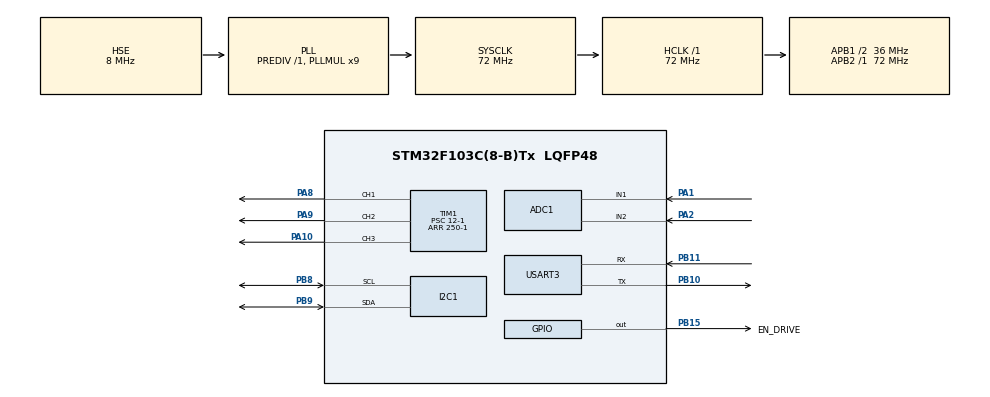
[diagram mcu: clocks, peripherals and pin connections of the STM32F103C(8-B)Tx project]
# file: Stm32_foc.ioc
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ADC1.Channel-2\#ChannelInjectedConversion=ADC_CHANNEL_1
ADC1.Channel-3\#ChannelInjectedConversion=ADC_CHANNEL_2
ADC1.ContinuousConvMode=ENABLE
ADC1.EnableInjectedConversion=ENABLE
ADC1.EnableRegularConversion=DISABLE
ADC1.ExternalTrigInjecConv=ADC_EXTERNALTRIGINJECCONV_T1_CC4
ADC1.InjNumberOfConversion=2
ADC1.InjectedConvMode=None
ADC1.InjectedOffset-2\#ChannelInjectedConversion=0
ADC1.InjectedOffset-3\#ChannelInjectedConversion=0
ADC1.InjectedRank-2\#ChannelInjectedConversion=1
ADC1.InjectedRank-3\#ChannelInjectedConversion=2
ADC1.SamplingTime-2\#ChannelInjectedConversion=ADC_SAMPLETIME_13CYCLES_5
ADC1.SamplingTime-3\#ChannelInjectedConversion=ADC_SAMPLETIME_13CYCLES_5
ADC1.master=1
I2C1.DualAddressMode=I2C_DUALADDRESS_DISABLE
I2C1.GeneralCallMode=I2C_GENERALCALL_DISABLE
I2C1.I2C_Mode=I2C_Standard
Mcu.Family=STM32F1
Mcu.Name=STM32F103C(8-B)Tx
Mcu.Package=LQFP48
NVIC.PriorityGroup=NVIC_PRIORITYGROUP_4
NVIC.USART3_IRQn=true\:0\:0\:false\:false\:true\:true\:true\:true
PA1.Signal=ADCx_IN1
PA10.Signal=S_TIM1_CH3
PA13.Mode=Serial_Wire
PA13.Signal=SYS_JTMS-SWDIO
PA14.Mode=Serial_Wire
PA14.Signal=SYS_JTCK-SWCLK
PA2.Signal=ADCx_IN2
PA8.Signal=S_TIM1_CH1
PA9.Signal=S_TIM1_CH2
PB10.Mode=Asynchronous
PB10.Signal=USART3_TX
PB11.Mode=Asynchronous
PB11.Signal=USART3_RX
PB15.GPIO_Label=EN_DRIVE
PB15.Signal=GPIO_Output
PB8.Mode=I2C
PB8.Signal=I2C1_SCL
PB9.Mode=I2C
PB9.Signal=I2C1_SDA
PD0-OSC_IN.Mode=HSE-External-Oscillator
PD0-OSC_IN.Signal=RCC_OSC_IN
PD1-OSC_OUT.Mode=HSE-External-Oscillator
PD1-OSC_OUT.Signal=RCC_OSC_OUT
ProjectManager.HeapSize=0x200
ProjectManager.StackSize=0x400
ProjectManager.TargetToolchain=MDK-ARM V5.32
RCC.ADCPresc=RCC_ADCPCLK2_DIV6
RCC.AHBFreq_Value=72000000
RCC.APB1CLKDivider=RCC_HCLK_DIV2
RCC.APB1Freq_Value=36000000
RCC.APB1TimFreq_Value=72000000
RCC.APB2Freq_Value=72000000
RCC.APB2TimFreq_Value=72000000
RCC.HCLKFreq_Value=72000000
RCC.PLLMUL=RCC_PLL_MUL9
RCC.PLLSourceVirtual=RCC_PLLSOURCE_HSE
RCC.SYSCLKFreq_VALUE=72000000
RCC.SYSCLKSource=RCC_SYSCLKSOURCE_PLLCLK
RCC.USBFreq_Value=72000000
SH.ADCx_IN1.0=ADC1_IN1,IN1
SH.ADCx_IN2.0=ADC1_IN2,IN2
SH.S_TIM1_CH1.0=TIM1_CH1,PWM Generation1 CH1
SH.S_TIM1_CH2.0=TIM1_CH2,PWM Generation2 CH2
SH.S_TIM1_CH3.0=TIM1_CH3,PWM Generation3 CH3
TIM1.AutoReloadPreload=TIM_AUTORELOAD_PRELOAD_ENABLE
TIM1.Channel-PWM\ Generation1\ CH1=TIM_CHANNEL_1
TIM1.Channel-PWM\ Generation2\ CH2=TIM_CHANNEL_2
TIM1.Channel-PWM\ Generation3\ CH3=TIM_CHANNEL_3
TIM1.Channel-PWM\ Generation4\ No\ Output=TIM_CHANNEL_4
TIM1.CounterMode=TIM_COUNTERMODE_CENTERALIGNED1
TIM1.OCFastMode_PWM-PWM\ Generation1\ CH1=TIM_OCFAST_DISABLE
TIM1.OCFastMode_PWM-PWM\ Generation2\ CH2=TIM_OCFAST_DISABLE
TIM1.OCFastMode_PWM-PWM\ Generation3\ CH3=TIM_OCFAST_DISABLE
TIM1.OCPolarity_1=TIM_OCPOLARITY_HIGH
TIM1.OCPolarity_2=TIM_OCPOLARITY_HIGH
TIM1.OCPolarity_3=TIM_OCPOLARITY_HIGH
TIM1.OCPolarity_4=TIM_OCPOLARITY_LOW
TIM1.Period=250-1
TIM1.Prescaler=12-1
TIM1.TIM_MasterOutputTrigger=TIM_TRGO_UPDATE
USART3.VirtualMode=VM_ASYNC
VP_TIM1_VS_ClockSourceINT.Mode=Internal
VP_TIM1_VS_no_output4.Mode=PWM Generation4 No Output
board=custom

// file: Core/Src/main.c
/* USER CODE BEGIN Header */
/**
  ******************************************************************************
  * @file           : main.c
  * @brief          : Main program body
  ******************************************************************************
  * @attention
  *
  * Copyright (c) 2023 STMicroelectronics.
  * All rights reserved.
  *
  * This software is licensed under terms that can be found in the LICENSE file
  * in the root directory of this software component.
  * If no LICENSE file comes with this software, it is provided AS-IS.
  *
  ******************************************************************************
  */
/* USER CODE END Header */
#include "main.h"
#include "adc.h"
#include "i2c.h"
#include "tim.h"
#include "usart.h"
#include "gpio.h"

/* USER CODE BEGIN Includes */
//#include "foc.h"
#include "As5600_Encoder.h"
#include <stdio.h>
#include "DengFoc.h"
/* USER CODE END Includes */

/* USER CODE BEGIN PM */
	float angle_sum;
	float angle;	//弧度
	uint16_t    ADC_Value_temp[2];
/* USER CODE END PM */

void SystemClock_Config(void);

/* USER CODE BEGIN 0 */
float tartspeed=20;
/* USER CODE END 0 */

int main(void)
{

  /* MCU Configuration--------------------------------------------------------*/

  /* Reset of all peripherals, Initializes the Flash interface and the Systick. */
  HAL_Init();

  /* Configure the system clock */
  SystemClock_Config();

  /* Initialize all configured peripherals */
  MX_GPIO_Init();
  MX_I2C1_Init();
  MX_TIM1_Init();
  MX_ADC1_Init();
  MX_USART3_UART_Init();
  /* USER CODE BEGIN 2 */
    uint16_t pwmVal=5000;   //PWM占空比
  HAL_TIM_PWM_Start(&htim1,TIM_CHANNEL_1);
	__HAL_TIM_SetCompare(&htim1, TIM_CHANNEL_1, pwmVal);    //修改比较值，修改占空比
  HAL_TIM_PWM_Start(&htim1,TIM_CHANNEL_2);
	__HAL_TIM_SetCompare(&htim1, TIM_CHANNEL_2, pwmVal);    //修改比较值，修改占空比
  HAL_TIM_PWM_Start(&htim1,TIM_CHANNEL_3);
	__HAL_TIM_SetCompare(&htim1, TIM_CHANNEL_3, pwmVal);    //修改比较值，修改占空比
	HAL_TIM_PWM_Start(&htim1,TIM_CHANNEL_4);

	TIM1->CCR4 = 220;	//避开开关时的抖动采样电流，ccr4控制采样时间。

  HAL_TIM_Base_Start_IT(&htim1);                // 使能定时器1中断
	HAL_ADCEx_Calibration_Start(&hadc1);//ADC校准

	HAL_ADCEx_InjectedStart(&hadc1);

	//HAL_ADC_Start_DMA(&hadc1,(uint32_t *)ADC_Value_temp,2);
	HAL_GPIO_WritePin(EN_DRIVE_GPIO_Port, EN_DRIVE_Pin, GPIO_PIN_SET);
	//__HAL_ADC_ENABLE_IT(&hadc1, ADC_IT_JEOC);

	//HAL_UART_Receive_IT(&huart3, (uint8_t *)Buffer, 1);
	//foc2_test();

  /* USER CODE END 2 */

  /* Infinite loop */
  while (1)
  {

    /* USER CODE BEGIN 3 */
		//Location_closed_loop();
		//angle= get_angle();
		//HAL_Delay(10);

		//Motoer_test();
		//svpwm_test();
		//velocityOpenloop(tartspeed);
		Location_closed_loop();
//		for(int i=0;i<2;i++)
//		{
//			int ADC_Value[2];

//			HAL_ADC_Start(&hadc1);	//启动ADC转换
//			HAL_ADC_PollForConversion(&hadc1,10);	//等待转换完成，10ms表示超时时间
//			ADC_Value[i] = HAL_ADC_GetValue(&hadc1);	//读取ADC转换数据（16位数据）
//			ADC_Value[i]-=117;
//			printf("%d,%d\n",ADC_Value[0],ADC_Value[1]);
//		}

  }
  /* USER CODE END 3 */
}

void SystemClock_Config(void)
{
  RCC_OscInitTypeDef RCC_OscInitStruct = {0};
  RCC_ClkInitTypeDef RCC_ClkInitStruct = {0};
  RCC_PeriphCLKInitTypeDef PeriphClkInit = {0};

  /** Initializes the RCC Oscillators according to the specified parameters
  * in the RCC_OscInitTypeDef structure.
  */
  RCC_OscInitStruct.OscillatorType = RCC_OSCILLATORTYPE_HSE;
  RCC_OscInitStruct.HSEState = RCC_HSE_ON;
  RCC_OscInitStruct.HSEPredivValue = RCC_HSE_PREDIV_DIV1;
  RCC_OscInitStruct.HSIState = RCC_HSI_ON;
  RCC_OscInitStruct.PLL.PLLState = RCC_PLL_ON;
  RCC_OscInitStruct.PLL.PLLSource = RCC_PLLSOURCE_HSE;
  RCC_OscInitStruct.PLL.PLLMUL = RCC_PLL_MUL9;
  if (HAL_RCC_OscConfig(&RCC_OscInitStruct) != HAL_OK)
  {
    Error_Handler();
  }

  /** Initializes the CPU, AHB and APB buses clocks
  */
  RCC_ClkInitStruct.ClockType = RCC_CLOCKTYPE_HCLK|RCC_CLOCKTYPE_SYSCLK
                              |RCC_CLOCKTYPE_PCLK1|RCC_CLOCKTYPE_PCLK2;
  RCC_ClkInitStruct.SYSCLKSource = RCC_SYSCLKSOURCE_PLLCLK;
  RCC_ClkInitStruct.AHBCLKDivider = RCC_SYSCLK_DIV1;
  RCC_ClkInitStruct.APB1CLKDivider = RCC_HCLK_DIV2;
  RCC_ClkInitStruct.APB2CLKDivider = RCC_HCLK_DIV1;

  if (HAL_RCC_ClockConfig(&RCC_ClkInitStruct, FLASH_LATENCY_2) != HAL_OK)
  {
    Error_Handler();
  }
  PeriphClkInit.PeriphClockSelection = RCC_PERIPHCLK_ADC;
  PeriphClkInit.AdcClockSelection = RCC_ADCPCLK2_DIV6;
  if (HAL_RCCEx_PeriphCLKConfig(&PeriphClkInit) != HAL_OK)
  {
    Error_Handler();
  }
}

/* USER CODE BEGIN 4 */

int fputc(int ch, FILE *f)
{
    HAL_UART_Transmit(&huart3, (uint8_t *)&ch, 1, 0xffff);
    return ch;
}

/**
  * @brief 重定向c库函数getchar,scanf到USARTx
  * @retval None
  */
int fgetc(FILE *f)
{
    uint8_t ch = 0;
    HAL_UART_Receive(&huart3, &ch, 1, 0xffff);
    return ch;
}

/* USER CODE END 4 */

void Error_Handler(void)
{
  __disable_irq();
  while (1)
  {
  }
}
